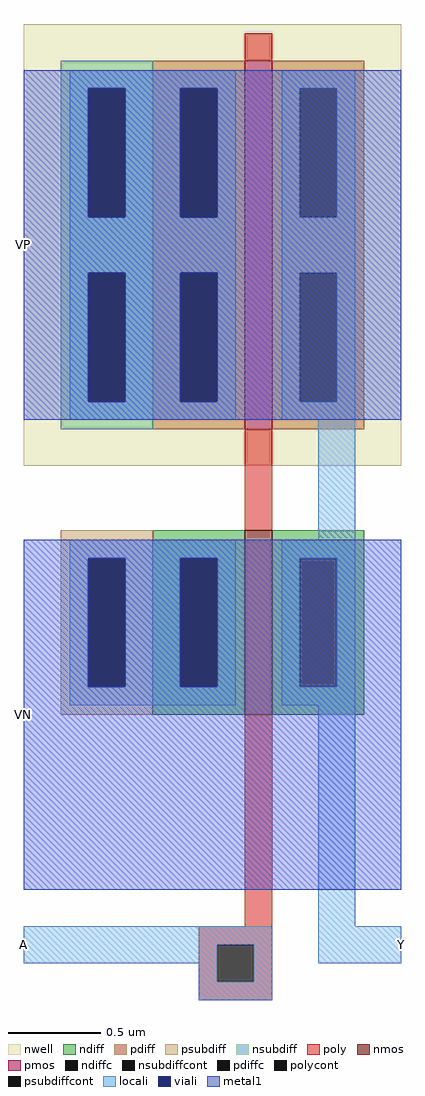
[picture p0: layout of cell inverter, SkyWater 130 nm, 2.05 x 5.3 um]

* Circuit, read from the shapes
.subckt inverter A Y VP VN
XM1 Y A VN VN sky130_fd_pr__nfet_01v8 w=1 l=0.15
XM2 Y A VP VP sky130_fd_pr__pfet_01v8 w=2 l=0.15
.ends

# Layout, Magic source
magic
tech sky130A
<< nwell >>
rect -120 235 85 475
<< nmos >>
rect 0 100 15 200
<< pmos >>
rect 0 255 15 455
<< ndiff >>
rect -50 185 0 200
rect -50 115 -35 185
rect -15 115 0 185
rect -50 100 0 115
rect 15 185 65 200
rect 15 115 30 185
rect 50 115 65 185
rect 15 100 65 115
<< pdiff >>
rect -50 440 0 455
rect -50 370 -35 440
rect -15 370 0 440
rect -50 340 0 370
rect -50 270 -35 340
rect -15 270 0 340
rect -50 255 0 270
rect 15 440 65 455
rect 15 370 30 440
rect 50 370 65 440
rect 15 340 65 370
rect 15 270 30 340
rect 50 270 65 340
rect 15 255 65 270
<< ndiffc >>
rect -35 115 -15 185
rect 30 115 50 185
<< pdiffc >>
rect -35 370 -15 440
rect -35 270 -15 340
rect 30 370 50 440
rect 30 270 50 340
<< psubdiff >>
rect -100 185 -50 200
rect -100 115 -85 185
rect -65 115 -50 185
rect -100 100 -50 115
<< nsubdiff >>
rect -100 440 -50 455
rect -100 370 -85 440
rect -65 370 -50 440
rect -100 340 -50 370
rect -100 270 -85 340
rect -65 270 -50 340
rect -100 255 -50 270
<< psubdiffcont >>
rect -85 115 -65 185
<< nsubdiffcont >>
rect -85 370 -65 440
rect -85 270 -65 340
<< poly >>
rect 0 455 15 470
rect 0 200 15 255
rect 0 -15 15 100
rect -25 -25 15 -15
rect -25 -45 -15 -25
rect 5 -45 15 -25
rect -25 -55 15 -45
<< polycont >>
rect -15 -45 5 -25
<< locali >>
rect -95 440 -5 450
rect -95 370 -85 440
rect -65 370 -35 440
rect -15 370 -5 440
rect -95 340 -5 370
rect -95 270 -85 340
rect -65 270 -35 340
rect -15 270 -5 340
rect -95 260 -5 270
rect 20 440 60 450
rect 20 370 30 440
rect 50 370 60 440
rect 20 340 60 370
rect 20 270 30 340
rect 50 270 60 340
rect 20 260 60 270
rect 40 195 60 260
rect -95 185 -5 195
rect -95 115 -85 185
rect -65 115 -35 185
rect -15 115 -5 185
rect -95 105 -5 115
rect 20 185 60 195
rect 20 115 30 185
rect 50 115 60 185
rect 20 105 60 115
rect 40 -15 60 105
rect -120 -25 15 -15
rect -120 -35 -15 -25
rect -25 -45 -15 -35
rect 5 -45 15 -25
rect 40 -35 85 -15
rect -25 -55 15 -45
<< viali >>
rect -85 370 -65 440
rect -35 370 -15 440
rect -85 270 -65 340
rect -35 270 -15 340
rect -85 115 -65 185
rect -35 115 -15 185
<< metal1 >>
rect -120 440 85 450
rect -120 370 -85 440
rect -65 370 -35 440
rect -15 370 85 440
rect -120 340 85 370
rect -120 270 -85 340
rect -65 270 -35 340
rect -15 270 85 340
rect -120 260 85 270
rect -120 185 85 195
rect -120 115 -85 185
rect -65 115 -35 185
rect -15 115 85 185
rect -120 5 85 115
<< labels >>
rlabel metal1 -120 100 -120 100 7 VN
port 4 w
rlabel locali 85 -25 85 -25 3 Y
port 2 e
rlabel locali -120 -25 -120 -25 7 A
port 1 w
rlabel metal1 -120 355 -120 355 7 VP
port 3 w
<< end >>
